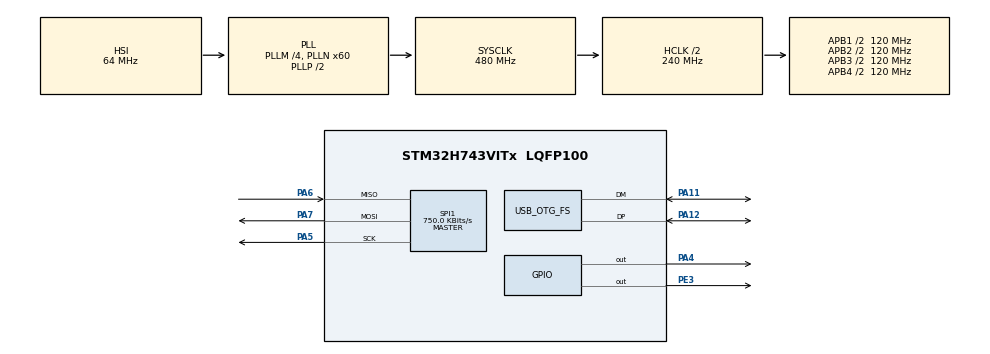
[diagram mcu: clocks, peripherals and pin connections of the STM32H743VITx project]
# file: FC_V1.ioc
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FREERTOS.Tasks01=defaultTask,24,512,StartDefaultTask,Default,NULL,Dynamic,NULL,NULL;Task_IMU,40,512,StartTask02,Default,NULL,Dynamic,NULL,NULL;Task_Debug,24,1024,StartTask03,Default,NULL,Dynamic,NULL,NULL
FREERTOS.configTOTAL_HEAP_SIZE=32768
FREERTOS.configUSE_NEWLIB_REENTRANT=1
Mcu.Family=STM32H7
Mcu.Name=STM32H743VITx
Mcu.Package=LQFP100
NVIC.OTG_FS_IRQn=true\:5\:0\:false\:false\:true\:true\:true\:true\:true
NVIC.PriorityGroup=NVIC_PRIORITYGROUP_4
NVIC.TIM6_DAC_IRQn=true\:15\:0\:false\:false\:true\:false\:false\:true\:true
NVIC.TimeBase=TIM6_DAC_IRQn
NVIC.TimeBaseIP=TIM6
PA11.Mode=Device_Only
PA11.Signal=USB_OTG_FS_DM
PA12.Mode=Device_Only
PA12.Signal=USB_OTG_FS_DP
PA4.Signal=GPIO_Output
PA5.Mode=Full_Duplex_Master
PA5.Signal=SPI1_SCK
PA6.Mode=Full_Duplex_Master
PA6.Signal=SPI1_MISO
PA7.Mode=Full_Duplex_Master
PA7.Signal=SPI1_MOSI
PE3.Signal=GPIO_Output
PH0-OSC_IN\ (PH0).Mode=HSE-External-Oscillator
PH0-OSC_IN\ (PH0).Signal=RCC_OSC_IN
PH1-OSC_OUT\ (PH1).Mode=HSE-External-Oscillator
PH1-OSC_OUT\ (PH1).Signal=RCC_OSC_OUT
ProjectManager.HeapSize=0x200
ProjectManager.StackSize=0x400
ProjectManager.TargetToolchain=STM32CubeIDE
RCC.ADCFreq_Value=129000000
RCC.APB1Freq_Value=120000000
RCC.APB2Freq_Value=120000000
RCC.APB3Freq_Value=120000000
RCC.APB4Freq_Value=120000000
RCC.CortexFreq_Value=480000000
RCC.D1PPRE=RCC_APB3_DIV2
RCC.D2PPRE1=RCC_APB1_DIV2
RCC.D2PPRE2=RCC_APB2_DIV2
RCC.D3PPRE=RCC_APB4_DIV2
RCC.DIVM1=4
RCC.DIVN1=60
RCC.DIVQ1=5
RCC.HCLKFreq_Value=240000000
RCC.HPRE=RCC_HCLK_DIV2
RCC.PLL2FRACN=0
RCC.PLL3FRACN=0
RCC.PLLFRACN=0
RCC.PWR_Regulator_Voltage_Scale=PWR_REGULATOR_VOLTAGE_SCALE0
RCC.ProductRev=revV
RCC.SYSCLKFreq_VALUE=480000000
RCC.SYSCLKSource=RCC_SYSCLKSOURCE_PLLCLK
RCC.USBCLockSelection=RCC_USBCLKSOURCE_HSI48
RCC.USBFreq_Value=48000000
SPI1.BaudRatePrescaler=SPI_BAUDRATEPRESCALER_256
SPI1.CalculateBaudRate=750.0 KBits/s
SPI1.DataSize=SPI_DATASIZE_8BIT
SPI1.Direction=SPI_DIRECTION_2LINES
SPI1.Mode=SPI_MODE_MASTER
SPI1.NSSPMode=SPI_NSS_PULSE_DISABLE
SPI1.VirtualType=VM_MASTER
USB_DEVICE.CLASS_NAME_FS=CDC
USB_DEVICE.VirtualMode-CDC_FS=Cdc
USB_DEVICE.VirtualModeFS=Cdc_FS
USB_OTG_FS.VirtualMode=Device_Only
VP_FREERTOS_VS_CMSIS_V2.Mode=CMSIS_V2
VP_SYS_VS_tim6.Mode=TIM6
VP_USB_DEVICE_VS_USB_DEVICE_CDC_FS.Mode=CDC_FS
board=custom

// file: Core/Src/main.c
/* USER CODE BEGIN Header */
/**
  ******************************************************************************
  * @file           : main.c
  * @brief          : Main program body
  ******************************************************************************
  * @attention
  *
  * Copyright (c) 2026 STMicroelectronics.
  * All rights reserved.
  *
  * This software is licensed under terms that can be found in the LICENSE file
  * in the root directory of this software component.
  * If no LICENSE file comes with this software, it is provided AS-IS.
  *
  ******************************************************************************
  */
/* USER CODE END Header */
#include "main.h"
#include "cmsis_os.h"
#include "usb_device.h"

/* USER CODE BEGIN Includes */
#include "mpu6500.h"
#include "usbd_cdc_if.h"  // <--- Adds the CDC_Transmit_FS function
#include <string.h>       // <--- Adds strlen()
#include <stdio.h>        // <--- Adds sprintf()
/* USER CODE END Includes */

SPI_HandleTypeDef hspi1;

/* Definitions for defaultTask */
osThreadId_t defaultTaskHandle;
const osThreadAttr_t defaultTask_attributes = {
  .name = "defaultTask",
  .stack_size = 512 * 4,
  .priority = (osPriority_t) osPriorityNormal,
};
/* Definitions for Task_IMU */
osThreadId_t Task_IMUHandle;
const osThreadAttr_t Task_IMU_attributes = {
  .name = "Task_IMU",
  .stack_size = 512 * 4,
  .priority = (osPriority_t) osPriorityHigh,
};
/* Definitions for Task_Debug */
osThreadId_t Task_DebugHandle;
const osThreadAttr_t Task_Debug_attributes = {
  .name = "Task_Debug",
  .stack_size = 1024 * 4,
  .priority = (osPriority_t) osPriorityNormal,
};
/* USER CODE BEGIN PV */
int16_t accel_raw[3];
int16_t gyro_raw[3];
/* USER CODE END PV */

void SystemClock_Config(void);
static void MX_GPIO_Init(void);
static void MX_SPI1_Init(void);
void StartDefaultTask(void *argument);
void StartTask02(void *argument);
void StartTask03(void *argument);

int main(void)
{

  /* MCU Configuration--------------------------------------------------------*/

  /* Reset of all peripherals, Initializes the Flash interface and the Systick. */
  HAL_Init();

  /* Configure the system clock */
  SystemClock_Config();

  /* Initialize all configured peripherals */
  MX_GPIO_Init();
  MX_SPI1_Init();

  /* Init scheduler */
  osKernelInitialize();

  /* Create the thread(s) */
  /* creation of defaultTask */
  defaultTaskHandle = osThreadNew(StartDefaultTask, NULL, &defaultTask_attributes);

  /* creation of Task_IMU */
  Task_IMUHandle = osThreadNew(StartTask02, NULL, &Task_IMU_attributes);

  /* creation of Task_Debug */
  Task_DebugHandle = osThreadNew(StartTask03, NULL, &Task_Debug_attributes);

  /* Start scheduler */
  osKernelStart();
  /* We should never get here as control is now taken by the scheduler */
  /* Infinite loop */
  while (1)
  {

  }
}

void SystemClock_Config(void)
{
  RCC_OscInitTypeDef RCC_OscInitStruct = {0};
  RCC_ClkInitTypeDef RCC_ClkInitStruct = {0};

  /** Supply configuration update enable
  */
  HAL_PWREx_ConfigSupply(PWR_LDO_SUPPLY);

  /** Configure the main internal regulator output voltage
  */
  __HAL_PWR_VOLTAGESCALING_CONFIG(PWR_REGULATOR_VOLTAGE_SCALE1);

  while(!__HAL_PWR_GET_FLAG(PWR_FLAG_VOSRDY)) {}

  __HAL_RCC_SYSCFG_CLK_ENABLE();
  __HAL_PWR_VOLTAGESCALING_CONFIG(PWR_REGULATOR_VOLTAGE_SCALE0);

  while(!__HAL_PWR_GET_FLAG(PWR_FLAG_VOSRDY)) {}

  /** Initializes the RCC Oscillators according to the specified parameters
  * in the RCC_OscInitTypeDef structure.
  */
  RCC_OscInitStruct.OscillatorType = RCC_OSCILLATORTYPE_HSI48|RCC_OSCILLATORTYPE_HSI;
  RCC_OscInitStruct.HSIState = RCC_HSI_DIV1;
  RCC_OscInitStruct.HSICalibrationValue = RCC_HSICALIBRATION_DEFAULT;
  RCC_OscInitStruct.HSI48State = RCC_HSI48_ON;
  RCC_OscInitStruct.PLL.PLLState = RCC_PLL_ON;
  RCC_OscInitStruct.PLL.PLLSource = RCC_PLLSOURCE_HSI;
  RCC_OscInitStruct.PLL.PLLM = 4;
  RCC_OscInitStruct.PLL.PLLN = 60;
  RCC_OscInitStruct.PLL.PLLP = 2;
  RCC_OscInitStruct.PLL.PLLQ = 5;
  RCC_OscInitStruct.PLL.PLLR = 2;
  RCC_OscInitStruct.PLL.PLLRGE = RCC_PLL1VCIRANGE_3;
  RCC_OscInitStruct.PLL.PLLVCOSEL = RCC_PLL1VCOWIDE;
  RCC_OscInitStruct.PLL.PLLFRACN = 0;
  if (HAL_RCC_OscConfig(&RCC_OscInitStruct) != HAL_OK)
  {
    Error_Handler();
  }

  /** Initializes the CPU, AHB and APB buses clocks
  */
  RCC_ClkInitStruct.ClockType = RCC_CLOCKTYPE_HCLK|RCC_CLOCKTYPE_SYSCLK
                              |RCC_CLOCKTYPE_PCLK1|RCC_CLOCKTYPE_PCLK2
                              |RCC_CLOCKTYPE_D3PCLK1|RCC_CLOCKTYPE_D1PCLK1;
  RCC_ClkInitStruct.SYSCLKSource = RCC_SYSCLKSOURCE_PLLCLK;
  RCC_ClkInitStruct.SYSCLKDivider = RCC_SYSCLK_DIV1;
  RCC_ClkInitStruct.AHBCLKDivider = RCC_HCLK_DIV2;
  RCC_ClkInitStruct.APB3CLKDivider = RCC_APB3_DIV2;
  RCC_ClkInitStruct.APB1CLKDivider = RCC_APB1_DIV2;
  RCC_ClkInitStruct.APB2CLKDivider = RCC_APB2_DIV2;
  RCC_ClkInitStruct.APB4CLKDivider = RCC_APB4_DIV2;

  if (HAL_RCC_ClockConfig(&RCC_ClkInitStruct, FLASH_LATENCY_4) != HAL_OK)
  {
    Error_Handler();
  }
}

static void MX_SPI1_Init(void)
{

  /* SPI1 parameter configuration*/
  hspi1.Instance = SPI1;
  hspi1.Init.Mode = SPI_MODE_MASTER;
  hspi1.Init.Direction = SPI_DIRECTION_2LINES;
  hspi1.Init.DataSize = SPI_DATASIZE_8BIT;
  hspi1.Init.CLKPolarity = SPI_POLARITY_LOW;
  hspi1.Init.CLKPhase = SPI_PHASE_1EDGE;
  hspi1.Init.NSS = SPI_NSS_SOFT;
  hspi1.Init.BaudRatePrescaler = SPI_BAUDRATEPRESCALER_256;
  hspi1.Init.FirstBit = SPI_FIRSTBIT_MSB;
  hspi1.Init.TIMode = SPI_TIMODE_DISABLE;
  hspi1.Init.CRCCalculation = SPI_CRCCALCULATION_DISABLE;
  hspi1.Init.CRCPolynomial = 0x0;
  hspi1.Init.NSSPMode = SPI_NSS_PULSE_DISABLE;
  hspi1.Init.NSSPolarity = SPI_NSS_POLARITY_LOW;
  hspi1.Init.FifoThreshold = SPI_FIFO_THRESHOLD_01DATA;
  hspi1.Init.TxCRCInitializationPattern = SPI_CRC_INITIALIZATION_ALL_ZERO_PATTERN;
  hspi1.Init.RxCRCInitializationPattern = SPI_CRC_INITIALIZATION_ALL_ZERO_PATTERN;
  hspi1.Init.MasterSSIdleness = SPI_MASTER_SS_IDLENESS_00CYCLE;
  hspi1.Init.MasterInterDataIdleness = SPI_MASTER_INTERDATA_IDLENESS_00CYCLE;
  hspi1.Init.MasterReceiverAutoSusp = SPI_MASTER_RX_AUTOSUSP_DISABLE;
  hspi1.Init.MasterKeepIOState = SPI_MASTER_KEEP_IO_STATE_DISABLE;
  hspi1.Init.IOSwap = SPI_IO_SWAP_DISABLE;
  if (HAL_SPI_Init(&hspi1) != HAL_OK)
  {
    Error_Handler();
  }

}

static void MX_GPIO_Init(void)
{
  GPIO_InitTypeDef GPIO_InitStruct = {0};

  /* GPIO Ports Clock Enable */
  __HAL_RCC_GPIOE_CLK_ENABLE();
  __HAL_RCC_GPIOH_CLK_ENABLE();
  __HAL_RCC_GPIOA_CLK_ENABLE();

  /*Configure GPIO pin Output Level */
  HAL_GPIO_WritePin(GPIOE, GPIO_PIN_3, GPIO_PIN_RESET);

  /*Configure GPIO pin Output Level */
  HAL_GPIO_WritePin(GPIOA, GPIO_PIN_4, GPIO_PIN_RESET);

  /*Configure GPIO pin : PE3 */
  GPIO_InitStruct.Pin = GPIO_PIN_3;
  GPIO_InitStruct.Mode = GPIO_MODE_OUTPUT_PP;
  GPIO_InitStruct.Pull = GPIO_NOPULL;
  GPIO_InitStruct.Speed = GPIO_SPEED_FREQ_LOW;
  HAL_GPIO_Init(GPIOE, &GPIO_InitStruct);

  /*Configure GPIO pin : PA4 */
  GPIO_InitStruct.Pin = GPIO_PIN_4;
  GPIO_InitStruct.Mode = GPIO_MODE_OUTPUT_PP;
  GPIO_InitStruct.Pull = GPIO_NOPULL;
  GPIO_InitStruct.Speed = GPIO_SPEED_FREQ_LOW;
  HAL_GPIO_Init(GPIOA, &GPIO_InitStruct);

}

void StartDefaultTask(void *argument)
{
  /* init code for USB_DEVICE */
  MX_USB_DEVICE_Init();
  for(;;)
  {
    osDelay(1);
  }
}

void StartTask02(void *argument)
{
  /* USER CODE BEGIN StartTask02 */
	  /* Initialize the sensor here, not in debug task! */
  if(MPU6500_Init() != 1) {
	  // If it fails, blink the LED rapidly and suspend the task
	  while(1) {
		  HAL_GPIO_TogglePin(GPIOE, GPIO_PIN_3);
		  osDelay(100);
	  }
  }

  /* Infinite loop */
  for(;;)
  {
	MPU6500_ReadAll();
    osDelay(1);
  }
  /* USER CODE END StartTask02 */
}

void StartTask03(void *argument)
{
  /* USER CODE BEGIN StartTask03 */
	osDelay(3000);
  /* Infinite loop */
  for(;;)
  {
	char usb_buffer[128];

	// Format your data
	sprintf(usb_buffer, "%d,%d,%d,%d,%d,%d\r\n",
			accel_raw[0], accel_raw[1], accel_raw[2],
			gyro_raw[0], gyro_raw[1], gyro_raw[2]);

	// Transmit over USB Type-C
	CDC_Transmit_FS((uint8_t*)usb_buffer, strlen(usb_buffer));

	// Sleep for 20ms (50Hz update rate)
	osDelay(20);
  }
  /* USER CODE END StartTask03 */
}

void HAL_TIM_PeriodElapsedCallback(TIM_HandleTypeDef *htim)
{
  if (htim->Instance == TIM6) {
    HAL_IncTick();
  }
}

void Error_Handler(void)
{
  __disable_irq();
  while (1)
  {
  }
}
